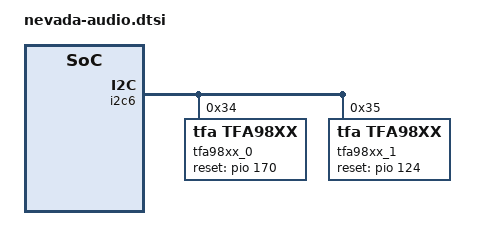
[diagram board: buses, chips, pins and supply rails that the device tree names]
/*
 * Copyright (c) 2019 MediaTek Inc.
 *
 * This program is free software; you can redistribute it and/or modify
 * it under the terms of the GNU General Public License version 2 as
 * published by the Free Software Foundation.
 *
 * This program is distributed in the hope that it will be useful,
 * but WITHOUT ANY WARRANTY; without even the implied warranty of
 * MERCHANTABILITY or FITNESS FOR A PARTICULAR PURPOSE.  See the
 * GNU General Public License for more details.
 */
&i2c6 {
	status = "ok";
	tfa98xx_0: tfa98xx@34 {
		compatible = "tfa,tfa98xx";
		reg = <0x34>;
		reset-gpio = <&pio 170 0>;
		reset-polarity = <1>;
	};
	tfa98xx_1: tfa98xx@35 {
		compatible = "tfa,tfa98xx";
		reg = <0x35>;
		reset-gpio = <&pio 124 0>;
		reset-polarity = <1>;
	};
};

&spk{
	status = "disabled";
};

&sound {
	mediatek,speaker-codec {
		sound-dai = <&tfa98xx_0 &tfa98xx_1>;
	};
};
